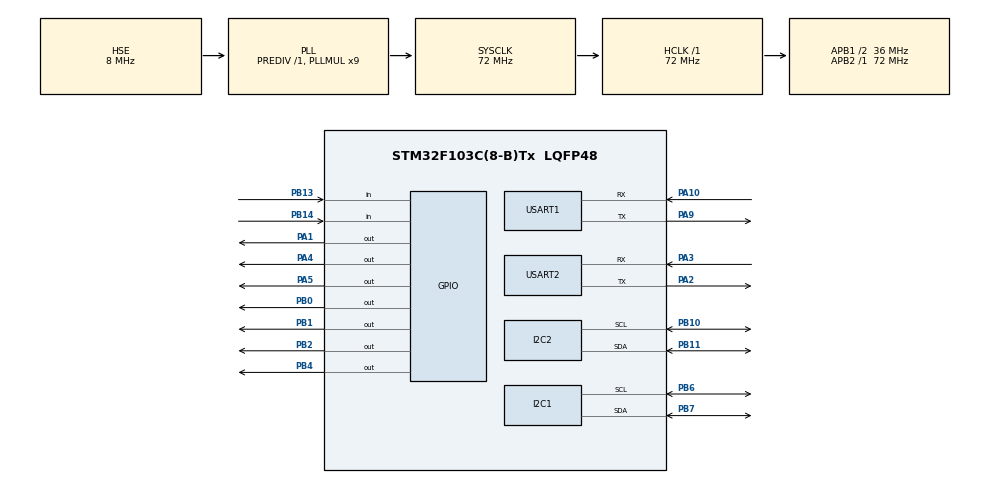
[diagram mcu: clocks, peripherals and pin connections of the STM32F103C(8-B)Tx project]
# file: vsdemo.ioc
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Dma.Request0=USART1_RX
Dma.Request1=USART1_TX
Dma.Request2=USART2_RX
Dma.Request3=USART2_TX
Dma.USART1_RX.0.Direction=DMA_PERIPH_TO_MEMORY
Dma.USART1_RX.0.Instance=DMA1_Channel5
Dma.USART1_RX.0.MemDataAlignment=DMA_MDATAALIGN_BYTE
Dma.USART1_RX.0.MemInc=DMA_MINC_ENABLE
Dma.USART1_RX.0.Mode=DMA_NORMAL
Dma.USART1_RX.0.PeriphDataAlignment=DMA_PDATAALIGN_BYTE
Dma.USART1_RX.0.PeriphInc=DMA_PINC_DISABLE
Dma.USART1_RX.0.Priority=DMA_PRIORITY_LOW
Dma.USART1_TX.1.Direction=DMA_MEMORY_TO_PERIPH
Dma.USART1_TX.1.Instance=DMA1_Channel4
Dma.USART1_TX.1.MemDataAlignment=DMA_MDATAALIGN_BYTE
Dma.USART1_TX.1.MemInc=DMA_MINC_ENABLE
Dma.USART1_TX.1.Mode=DMA_NORMAL
Dma.USART1_TX.1.PeriphDataAlignment=DMA_PDATAALIGN_BYTE
Dma.USART1_TX.1.PeriphInc=DMA_PINC_DISABLE
Dma.USART1_TX.1.Priority=DMA_PRIORITY_LOW
Dma.USART2_RX.2.Direction=DMA_PERIPH_TO_MEMORY
Dma.USART2_RX.2.Instance=DMA1_Channel6
Dma.USART2_RX.2.MemDataAlignment=DMA_MDATAALIGN_BYTE
Dma.USART2_RX.2.MemInc=DMA_MINC_ENABLE
Dma.USART2_RX.2.Mode=DMA_NORMAL
Dma.USART2_RX.2.PeriphDataAlignment=DMA_PDATAALIGN_BYTE
Dma.USART2_RX.2.PeriphInc=DMA_PINC_DISABLE
Dma.USART2_RX.2.Priority=DMA_PRIORITY_LOW
Dma.USART2_TX.3.Direction=DMA_MEMORY_TO_PERIPH
Dma.USART2_TX.3.Instance=DMA1_Channel7
Dma.USART2_TX.3.MemDataAlignment=DMA_MDATAALIGN_BYTE
Dma.USART2_TX.3.MemInc=DMA_MINC_ENABLE
Dma.USART2_TX.3.Mode=DMA_NORMAL
Dma.USART2_TX.3.PeriphDataAlignment=DMA_PDATAALIGN_BYTE
Dma.USART2_TX.3.PeriphInc=DMA_PINC_DISABLE
Dma.USART2_TX.3.Priority=DMA_PRIORITY_LOW
I2C1.I2C_Mode=I2C_Fast
I2C2.I2C_Mode=I2C_Fast
Mcu.Family=STM32F1
Mcu.Name=STM32F103C(8-B)Tx
Mcu.Package=LQFP48
NVIC.DMA1_Channel4_IRQn=true\:0\:0\:false\:false\:true\:false\:true\:true
NVIC.DMA1_Channel5_IRQn=true\:0\:0\:false\:false\:true\:false\:true\:true
NVIC.DMA1_Channel6_IRQn=true\:0\:0\:false\:false\:true\:false\:true\:true
NVIC.DMA1_Channel7_IRQn=true\:0\:0\:false\:false\:true\:false\:true\:true
NVIC.PriorityGroup=NVIC_PRIORITYGROUP_4
NVIC.TIM2_IRQn=true\:0\:0\:false\:false\:true\:true\:true\:true
NVIC.TIM4_IRQn=true\:0\:0\:false\:false\:true\:true\:true\:true
NVIC.USART1_IRQn=true\:0\:0\:false\:false\:true\:true\:true\:true
NVIC.USART2_IRQn=true\:0\:0\:false\:false\:true\:true\:true\:true
PA1.Signal=GPIO_Output
PA10.Mode=Asynchronous
PA10.Signal=USART1_RX
PA13.Mode=Serial_Wire
PA13.Signal=SYS_JTMS-SWDIO
PA14.Mode=Serial_Wire
PA14.Signal=SYS_JTCK-SWCLK
PA2.Mode=Asynchronous
PA2.Signal=USART2_TX
PA3.Mode=Asynchronous
PA3.Signal=USART2_RX
PA4.Signal=GPIO_Output
PA5.Signal=GPIO_Output
PA9.Mode=Asynchronous
PA9.Signal=USART1_TX
PB0.Signal=GPIO_Output
PB1.Signal=GPIO_Output
PB10.Mode=I2C
PB10.Signal=I2C2_SCL
PB11.Mode=I2C
PB11.Signal=I2C2_SDA
PB13.GPIO_PuPd=GPIO_PULLUP
PB13.Signal=GPIO_Input
PB14.GPIO_PuPd=GPIO_PULLUP
PB14.Signal=GPIO_Input
PB2.Signal=GPIO_Output
PB4.GPIO_PuPd=GPIO_PULLDOWN
PB4.Signal=GPIO_Output
PB6.Mode=I2C
PB6.Signal=I2C1_SCL
PB7.Mode=I2C
PB7.Signal=I2C1_SDA
PD0-OSC_IN.Mode=HSE-External-Oscillator
PD0-OSC_IN.Signal=RCC_OSC_IN
PD1-OSC_OUT.Mode=HSE-External-Oscillator
PD1-OSC_OUT.Signal=RCC_OSC_OUT
ProjectManager.HeapSize=0x200
ProjectManager.StackSize=0x400
ProjectManager.TargetToolchain=CMake
RCC.AHBFreq_Value=72000000
RCC.APB1CLKDivider=RCC_HCLK_DIV2
RCC.APB1Freq_Value=36000000
RCC.APB1TimFreq_Value=72000000
RCC.APB2Freq_Value=72000000
RCC.APB2TimFreq_Value=72000000
RCC.HCLKFreq_Value=72000000
RCC.PLLMUL=RCC_PLL_MUL9
RCC.PLLSourceVirtual=RCC_PLLSOURCE_HSE
RCC.SYSCLKFreq_VALUE=72000000
RCC.SYSCLKSource=RCC_SYSCLKSOURCE_PLLCLK
RCC.USBFreq_Value=72000000
TIM2.Period=2000-1
TIM2.Prescaler=7200-1
TIM4.Period=1000-1
TIM4.Prescaler=72-1
USART1.VirtualMode=VM_ASYNC
USART2.VirtualMode=VM_ASYNC
VP_TIM2_VS_ClockSourceINT.Mode=Internal
VP_TIM4_VS_ClockSourceINT.Mode=Internal
board=custom

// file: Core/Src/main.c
/* USER CODE BEGIN Header */
/**
  ******************************************************************************
  * @file           : main.c
  * @brief          : Main program body
  ******************************************************************************
  * @attention
  *
  * Copyright (c) 2025 STMicroelectronics.
  * All rights reserved.
  *
  * This software is licensed under terms that can be found in the LICENSE file
  * in the root directory of this software component.
  * If no LICENSE file comes with this software, it is provided AS-IS.
  *
  ******************************************************************************
  */
/* USER CODE END Header */
#include "main.h"
#include "dma.h"
#include "i2c.h"
#include "tim.h"
#include "usart.h"
#include "gpio.h"

/* USER CODE BEGIN Includes */
#include "global.h"
#include <string.h>
#include <stdio.h>
#include "OLED.h"
#include "mpu6050.h"
#include "cycle_task.h"
#include "command.h"
#include "data_send.h"

/* USER CODE END Includes */

/* USER CODE BEGIN PV */
float pitch, roll, yaw;
float temp;
char pitch_buf[16];
char roll_buf[16];
char yaw_buf[16];

uint8_t readBuffer[50];
float rx_yaw_deg = 0.0f;
float rx_yaw_rad = 0.0f;

/* USER CODE END PV */

void SystemClock_Config(void);

/* USER CODE BEGIN 0 */
void uart_send_data(UART_HandleTypeDef *huart)
{
  if (flag_data_transmission_task)
    {
        flag_data_transmission_task = 0; // 重置标志位

        // 将三个数据通过usart1 dma发送
        static char usart_buf[96];

        sprintf(usart_buf, "Data:%.2f,%.2f,%.2f\n", pitch, roll, yaw);
        HAL_UART_Transmit_DMA(huart, (uint8_t*)usart_buf, strlen(usart_buf));
    }
}

void HAL_UARTEx_RxEventCallback(UART_HandleTypeDef *huart, uint16_t Size){
	if (huart == &huart2){
		Command_Write(readBuffer, Size);
		HAL_UARTEx_ReceiveToIdle_IT(&huart2, readBuffer, sizeof(readBuffer));
	}
}

/* USER CODE END 0 */

int main(void)
{

  /* MCU Configuration--------------------------------------------------------*/

  /* Reset of all peripherals, Initializes the Flash interface and the Systick. */
  HAL_Init();

  /* Configure the system clock */
  SystemClock_Config();

  /* Initialize all configured peripherals */
  MX_GPIO_Init();
  MX_DMA_Init();
  MX_I2C1_Init();
  MX_TIM2_Init();
  MX_USART1_UART_Init();
  MX_I2C2_Init();
  MX_TIM4_Init();
  MX_USART2_UART_Init();
  /* USER CODE BEGIN 2 */
  //HAL_GPIO_WritePin(GPIOB, GPIO_PIN_0, GPIO_PIN_SET);
  //HAL_GPIO_WritePin(GPIOB, GPIO_PIN_1, GPIO_PIN_SET);
  HAL_GPIO_WritePin(GPIOB, GPIO_PIN_2, GPIO_PIN_SET);
  // 初始化OLED
  HAL_Delay(20); // 等待OLED电源稳定
  OLED_Init();
  OLED_ShowString(0, 0, "OLED Init OK", OLED_8X16);
  OLED_Update();
  HAL_Delay(1000); // 显示1秒
  OLED_Clear();

  // 初始化MPU6050
  if(MPU_Init() == 0)
  {
    OLED_ShowString(0, 0, "MPU6050 OK", OLED_8X16);
    OLED_Update();
    HAL_Delay(300);
    OLED_Clear();
    OLED_ShowString(0, 0, "Calib Gyro...", OLED_8X16);
    OLED_Update();
    MPU_Calibrate_Gyro(300); // 约300*2ms≈0.6s静止平均
    OLED_Clear();
    OLED_ShowString(0, 0, "Calib Done", OLED_8X16);
  }
  else
  {
    OLED_ShowString(0, 0, "MPU6050 ERR", OLED_8X16);
  }
  OLED_Update();
  HAL_Delay(1000);
  OLED_Clear();

  // 【新手避坑神技】：在开启空闲中断前，先清除可能因为开机延时导致的 ORE(溢出) 错误！
  // 1. 清除 ORE 标志位 (STM32F1系列是通过读取 SR 寄存器后读取 DR 寄存器来清除的，HAL库提供了宏定义)
  __HAL_UART_CLEAR_OREFLAG(&huart2);
  // 2. 强行将串口状态恢复为 READY
  huart2.RxState = HAL_UART_STATE_READY;
  HAL_UARTEx_ReceiveToIdle_IT(&huart2, readBuffer, sizeof(readBuffer));
  uint8_t command[50];
  int commandLength = 0;

  HAL_TIM_Base_Start_IT(&htim4);

  /* USER CODE END 2 */

  /* Infinite loop */
  /* USER CODE BEGIN WHILE */
  while (1)
  {
   while ((commandLength = Command_GetCommand(command)) > 0) {
      if (commandLength == 11) {
        // 将高8位和低8位拼接成 16 位的原始数据
        int16_t yaw_raw = (int16_t)(((uint16_t)command[7] << 8) | command[6]);
        // 按照维特智能的官方公式，将原始数据转换为实际角度 (度)
        rx_yaw_deg = (float)yaw_raw * 180.0f / 32768.0f;
        // 将角度转换为弧度 (用于后续可能的数学计算)
        rx_yaw_rad = rx_yaw_deg * 0.0174532925f;
      }
    }
    // 采样并更新姿态角缓存
    MPU_Update_Attitude();

    // 仅读取MPU6050姿态角缓存
    MPU_Get_Pitch_Roll_Yaw(&pitch, &roll, &yaw);
    //temp = MPU_Get_Temperature();
    // 显示在OLED上

    OLED_Clear();

    /*
    // 仅显示串口接收得到的两个变量
    OLED_ShowString(0, 0, "YawDeg:", OLED_8X16);
    sprintf(pitch_buf, "%.2f", rx_yaw_deg);
    OLED_ShowString(56, 0, pitch_buf, OLED_8X16);

    OLED_ShowString(0, 16, "YawRad:", OLED_8X16);
    sprintf(roll_buf, "%.3f", rx_yaw_rad);
    OLED_ShowString(56, 16, roll_buf, OLED_8X16);
    */

    OLED_ShowString(0, 0, "Pitch:", OLED_8X16);
    sprintf(pitch_buf, "%.1f", pitch);
    OLED_ShowString(56, 0, pitch_buf, OLED_8X16);

    OLED_ShowString(0, 16, "Roll:", OLED_8X16);
    sprintf(roll_buf, "%.1f", roll);
    OLED_ShowString(56, 16, roll_buf, OLED_8X16);

    //uart_send_data(&huart1);

    private_uart_data_read();
    warning_oled_display();
    private_uart_send_data(&huart2);

    OLED_Update();
    /* USER CODE END WHILE */

  }
}

void SystemClock_Config(void)
{
  RCC_OscInitTypeDef RCC_OscInitStruct = {0};
  RCC_ClkInitTypeDef RCC_ClkInitStruct = {0};

  /** Initializes the RCC Oscillators according to the specified parameters
  * in the RCC_OscInitTypeDef structure.
  */
  RCC_OscInitStruct.OscillatorType = RCC_OSCILLATORTYPE_HSE;
  RCC_OscInitStruct.HSEState = RCC_HSE_ON;
  RCC_OscInitStruct.HSEPredivValue = RCC_HSE_PREDIV_DIV1;
  RCC_OscInitStruct.HSIState = RCC_HSI_ON;
  RCC_OscInitStruct.PLL.PLLState = RCC_PLL_ON;
  RCC_OscInitStruct.PLL.PLLSource = RCC_PLLSOURCE_HSE;
  RCC_OscInitStruct.PLL.PLLMUL = RCC_PLL_MUL9;
  if (HAL_RCC_OscConfig(&RCC_OscInitStruct) != HAL_OK)
  {
    Error_Handler();
  }

  /** Initializes the CPU, AHB and APB buses clocks
  */
  RCC_ClkInitStruct.ClockType = RCC_CLOCKTYPE_HCLK|RCC_CLOCKTYPE_SYSCLK
                              |RCC_CLOCKTYPE_PCLK1|RCC_CLOCKTYPE_PCLK2;
  RCC_ClkInitStruct.SYSCLKSource = RCC_SYSCLKSOURCE_PLLCLK;
  RCC_ClkInitStruct.AHBCLKDivider = RCC_SYSCLK_DIV1;
  RCC_ClkInitStruct.APB1CLKDivider = RCC_HCLK_DIV2;
  RCC_ClkInitStruct.APB2CLKDivider = RCC_HCLK_DIV1;

  if (HAL_RCC_ClockConfig(&RCC_ClkInitStruct, FLASH_LATENCY_2) != HAL_OK)
  {
    Error_Handler();
  }
}

void Error_Handler(void)
{
  __disable_irq();
  while (1)
  {
  }
}
